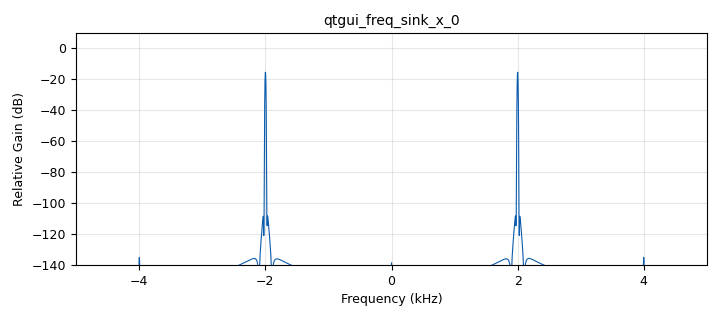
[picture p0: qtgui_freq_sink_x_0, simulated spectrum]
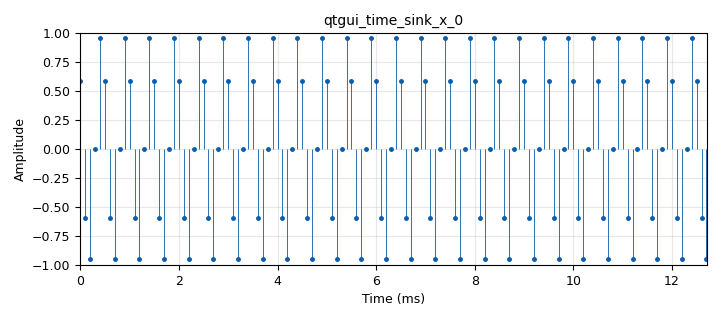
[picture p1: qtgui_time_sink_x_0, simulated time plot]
options:
  parameters:
    author: denilson
    generate_options: qt_gui
    id: relacion_sam_frec
    output_language: python
    title: Not titled yet
  states: {}

blocks:
- name: frecuencia
  id: variable_qtgui_range
  parameters:
    label: frecuency
    start: '1000'
    step: '1000'
    stop: '40000'
    value: '2000'
  states: {}
- name: samp_rate
  id: variable_qtgui_range
  parameters:
    label: frecuencia_muestreo
    start: '1000'
    step: '1000'
    stop: '80000'
    value: '10000'
  states: {}
- name: analog_sig_source_x_0
  id: analog_sig_source_x
  parameters:
    amp: '1'
    freq: frecuencia
    offset: '0'
    phase: '0'
    samp_rate: samp_rate
    type: float
    waveform: analog.GR_SIN_WAVE
  states: {}
- name: blocks_throttle_0
  id: blocks_throttle
  parameters:
    samples_per_second: samp_rate
    type: float
  states: {}
- name: qtgui_freq_sink_x_0
  id: qtgui_freq_sink_x
  parameters:
    average: '0.05'
    bw: samp_rate
    fc: '0'
    fftsize: '2048'
    type: float
  states: {}
- name: qtgui_time_sink_x_0
  id: qtgui_time_sink_x
  parameters:
    grid: 'True'
    size: '128'
    srate: samp_rate
    stemplot: 'True'
    type: float
  states: {}

connections:
- [analog_sig_source_x_0, '0', blocks_throttle_0, '0']
- [blocks_throttle_0, '0', qtgui_freq_sink_x_0, '0']
- [blocks_throttle_0, '0', qtgui_time_sink_x_0, '0']

metadata:
  file_format: 1
  grc_version: 3.10.5.1
